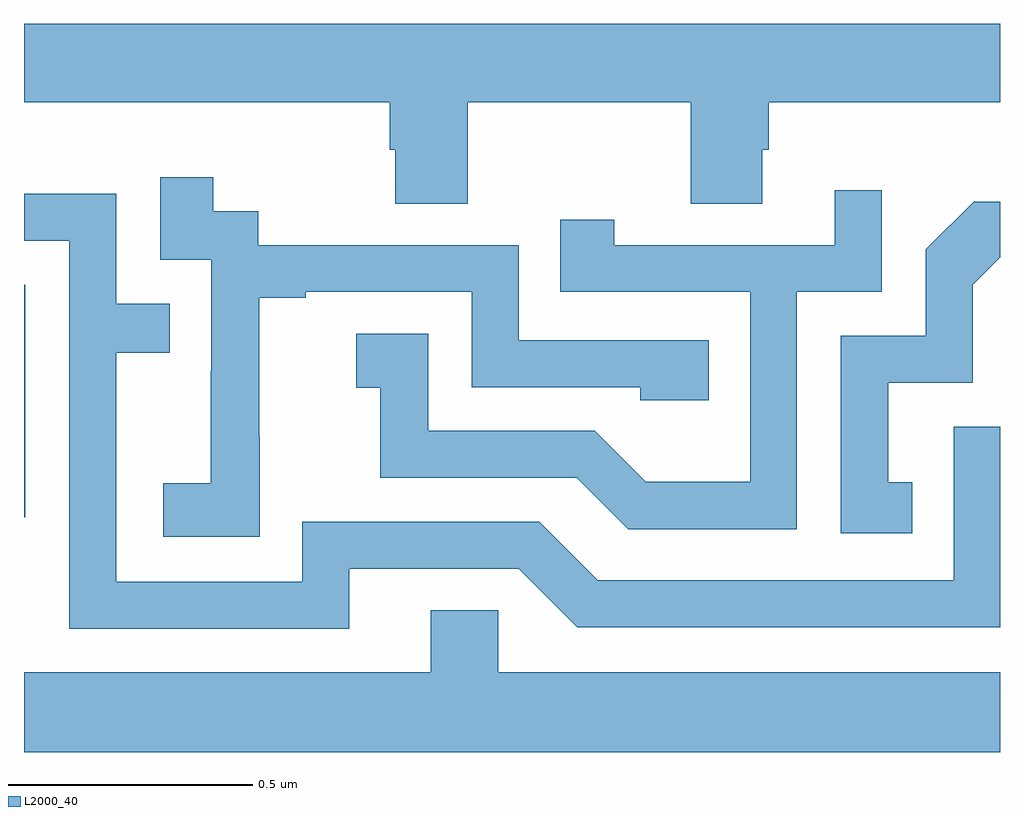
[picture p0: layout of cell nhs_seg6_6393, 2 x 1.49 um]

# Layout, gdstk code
import gdstk
lib = gdstk.Library(unit=1e-6, precision=1e-09)
def R(c, l, rs):  # rectangles x0, y0, x1, y1
    for r in rs: c.add(gdstk.rectangle(r[:2], r[2:], *l))
def P(c, l, *ps):  # polygons
    for p in ps: c.add(gdstk.Polygon(p, *l))
L2000_40 = (2000, 40)

nhs_seg6_6393 = lib.new_cell('nhs_seg6_6393')
R(nhs_seg6_6393, L2000_40, [(195,942.489,195.003,942.966)])
P(nhs_seg6_6393, L2000_40, [(195.909,943.34),(196.366,943.34),(196.366,943.132),(196.513,943.132),(196.513,943.242),(196.526,943.242),(196.526,943.34),(197,943.34),(197,943.5),(195,943.5),(195,943.34),(195.749,943.34),(195.749,943.242),(195.761,943.242),(195.761,943.132),(195.909,943.132)],
  [(195.483,942.655),(195.482,942.655),(195.482,942.939),(195.577,942.939),(195.577,942.951),(195.918,942.951),(195.918,942.756),(196.263,942.756),(196.263,942.729),(196.403,942.729),(196.403,942.852),(196.014,942.852),(196.014,943.047),(195.48,943.047),(195.48,943.116),(195.388,943.116),(195.388,943.186),(195.279,943.186),(195.279,943.017),(195.384,943.017),(195.384,942.788),(195.383,942.788),(195.383,942.559),(195.285,942.559),(195.285,942.449),(195.483,942.449)],
  [(196.584,942.951),(196.758,942.951),(196.758,943.159),(196.661,943.159),(196.661,943.047),(196.21,943.047),(196.21,943.099),(196.099,943.099),(196.099,942.951),(196.488,942.951),(196.488,942.562),(196.274,942.562),(196.17,942.666),(195.828,942.666),(195.828,942.865),(195.681,942.865),(195.681,942.755),(195.73,942.755),(195.73,942.57),(196.133,942.57),(196.238,942.465),(196.584,942.465)],
  [(195.667,942.384),(196.014,942.384),(196.134,942.264),(197,942.264),(197,942.675),(196.905,942.675),(196.905,942.36),(196.176,942.36),(196.056,942.48),(195.57,942.48),(195.57,942.357),(195.189,942.357),(195.189,942.826),(195.299,942.826),(195.299,942.927),(195.189,942.927),(195.189,943.152),(195,943.152),(195,943.056),(195.093,943.056),(195.093,942.261),(195.667,942.261)],
  [(196.82,942.561),(196.771,942.561),(196.771,942.765),(196.944,942.765),(196.944,942.966),(197,943.022),(197,943.136),(196.946,943.136),(196.848,943.038),(196.848,942.861),(196.674,942.861),(196.674,942.456),(196.82,942.456)],
  [(197,942.172),(195.972,942.172),(195.972,942.299),(195.833,942.299),(195.833,942.172),(195,942.172),(195,942.008),(197,942.008)])

lib.write_gds('nhs_seg6_6393.gds')
